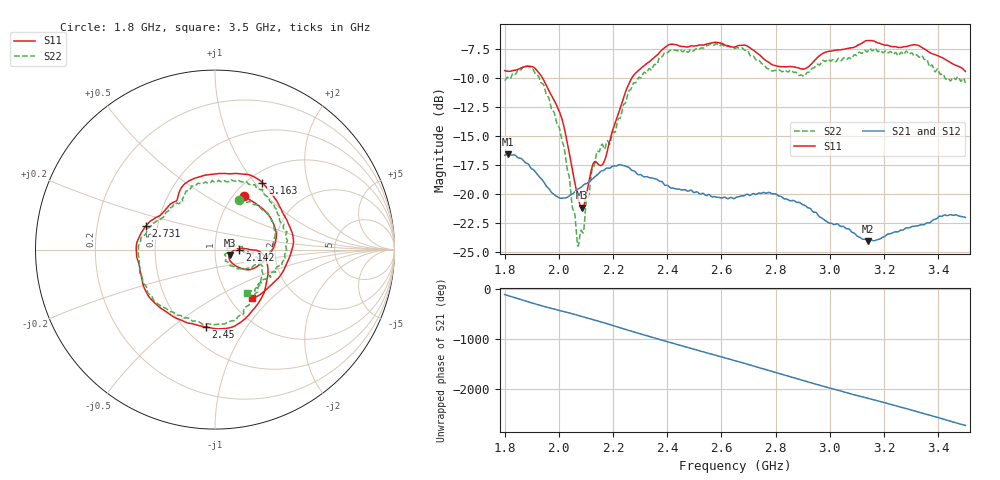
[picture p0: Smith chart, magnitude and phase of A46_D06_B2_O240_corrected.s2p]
! Created with skrf 1.9.0 (http://scikit-rf.org).
# Hz S RI R 50.0
!freq ReS11 ImS11 ReS21 ImS21 ReS12 ImS12 ReS22 ImS22
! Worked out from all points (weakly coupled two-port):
!   1601 points, 1.8 GHz to 3.5 GHz, reference 50 ohm
!   highest |S21| = -16.56 dB at 1.813 GHz (marker M1); lowest = -24.0 dB at 3.142 GHz (marker M2)
!   lowest |S11| = -21.2 dB at 2.087 GHz (marker M3), VSWR 1.19, Z = 58.7 - j3.71 ohm
!   |S11| at or under -10 dB: 1.94 GHz to 2.269 GHz (328.6 MHz wide, 15.6 % of centre)
!   |S22| runs from -24.5 to -7.0 dB; largest |S21 - S12| = 0.0025
!   S11 on the Smith chart (normalised r, x): 1.8 GHz: 1.11, +0.76; 2.142 GHz: 1.31, -0.00; 2.45 GHz: 0.63, -0.67; 2.731 GHz: 0.43, +0.14; 3.163 GHz: 1.16, +1.10; 3.5 GHz: 1.26, -0.76
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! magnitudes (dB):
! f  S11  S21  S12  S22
! 1.8 GHz  -9.3  -16.6  -16.7  -10.2
! 1.813 GHz  -9.4  -16.6  -16.6  -9.9
! 1.882 GHz  -9.0  -17.4  -17.4  -9.0
! 1.942 GHz  -10.1  -18.9  -18.9  -10.5
! 2.011 GHz  -13.5  -20.4  -20.3  -15.4
! 2.068 GHz  -20.0  -19.6  -19.6  -24.1
! 2.084 GHz  -21.2  -19.4  -19.3  -23.1
! 2.087 GHz  -21.2  -19.3  -19.3  -23.3
! 2.124 GHz  -17.6  -18.7  -18.7  -17.8
! 2.142 GHz  -17.3  -18.3  -18.3  -16.3
! 2.169 GHz  -17.1  -17.9  -17.9  -16.1
! 2.268 GHz  -10.1  -17.9  -17.9  -10.9
! 2.367 GHz  -7.9  -18.8  -18.8  -8.4
! 2.45 GHz  -7.2  -19.6  -19.6  -7.6
! 2.65 GHz  -7.3  -20.3  -20.3  -7.4
! 2.731 GHz  -7.8  -20.0  -20.0  -8.4
! 2.934 GHz  -8.7  -21.4  -21.4  -9.2
! 3.142 GHz  -6.8  -24.0  -23.9  -7.6
! 3.163 GHz  -6.8  -24.0  -24.0  -7.5
! 3.217 GHz  -7.2  -23.4  -23.4  -7.8
! 3.325 GHz  -7.2  -22.7  -22.7  -8.1
! 3.5 GHz  -9.4  -22.0  -22.0  -10.4
